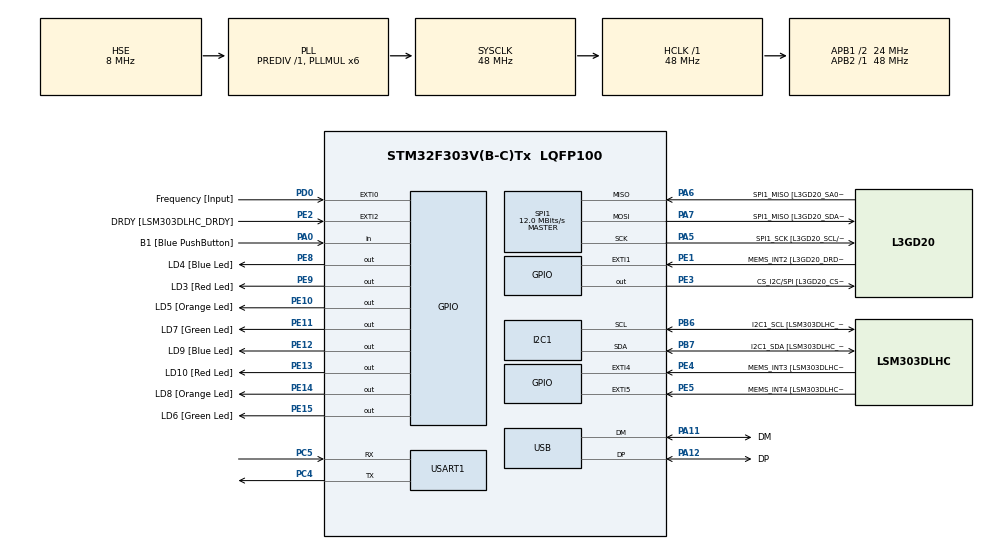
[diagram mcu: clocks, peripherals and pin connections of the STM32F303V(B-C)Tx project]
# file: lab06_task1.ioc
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I2C1.Timing=0x2000090E
I2C1.Timing-I2C=0x2000090E
Mcu.Family=STM32F3
Mcu.Name=STM32F303V(B-C)Tx
Mcu.Package=LQFP100
NVIC.EXTI0_IRQn=true\:0\:0\:false\:false\:true\:true\:true\:true
NVIC.PriorityGroup=NVIC_PRIORITYGROUP_0
NVIC.USB_LP_CAN_RX0_IRQn=true\:0\:0\:false\:false\:true\:false\:true\:true
PA0.GPIO_Label=B1 [Blue PushButton]
PA0.Signal=GPIO_Input
PA11.GPIO_Label=DM
PA11.Mode=Device
PA11.Signal=USB_DM
PA12.GPIO_Label=DP
PA12.Mode=Device
PA12.Signal=USB_DP
PA13.GPIO_Label=SWDIO
PA13.Mode=Serial_Wire
PA13.Signal=SYS_JTMS-SWDIO
PA14.GPIO_Label=SWCLK
PA14.Mode=Serial_Wire
PA14.Signal=SYS_JTCK-SWCLK
PA5.GPIO_Label=SPI1_SCK [L3GD20_SCL/SPC]
PA5.Mode=Full_Duplex_Master
PA5.Signal=SPI1_SCK
PA6.GPIO_Label=SPI1_MISO [L3GD20_SA0/SDO]
PA6.Mode=Full_Duplex_Master
PA6.Signal=SPI1_MISO
PA7.GPIO_Label=SPI1_MISO [L3GD20_SDA/SDI/SDO]
PA7.Mode=Full_Duplex_Master
PA7.Signal=SPI1_MOSI
PB3.GPIO_Label=SWO
PB3.Signal=SYS_JTDO-TRACESWO
PB6.GPIO_Label=I2C1_SCL [LSM303DLHC_SCL]
PB6.GPIO_Pu=GPIO_PULLUP
PB6.Mode=I2C
PB6.Signal=I2C1_SCL
PB7.GPIO_Label=I2C1_SDA [LSM303DLHC_SDA]
PB7.GPIO_Pu=GPIO_PULLUP
PB7.Mode=I2C
PB7.Signal=I2C1_SDA
PC14-OSC32_IN.GPIO_Label=OSC32_IN
PC14-OSC32_IN.Signal=RCC_OSC32_IN
PC15-OSC32_OUT.GPIO_Label=OSC32_OUT
PC15-OSC32_OUT.Signal=RCC_OSC32_OUT
PC4.Mode=Asynchronous
PC4.Signal=USART1_TX
PC5.Mode=Asynchronous
PC5.Signal=USART1_RX
PD0.GPIO_Label=Frequency [Input]
PD0.GPIO_ModeDefaultEXTI=GPIO_MODE_IT_RISING
PD0.Signal=GPXTI0
PE1.GPIO_Label=MEMS_INT2 [L3GD20_DRDY/INT2]
PE1.GPIO_ModeDefaultEXTI=GPIO_MODE_EVT_RISING
PE1.Signal=GPXTI1
PE10.GPIO_Label=LD5 [Orange Led]
PE10.Signal=GPIO_Output
PE11.GPIO_Label=LD7 [Green Led]
PE11.Signal=GPIO_Output
PE12.GPIO_Label=LD9 [Blue Led]
PE12.Signal=GPIO_Output
PE13.GPIO_Label=LD10 [Red Led]
PE13.Signal=GPIO_Output
PE14.GPIO_Label=LD8 [Orange Led]
PE14.Signal=GPIO_Output
PE15.GPIO_Label=LD6 [Green Led]
PE15.Signal=GPIO_Output
PE2.GPIO_Label=DRDY [LSM303DLHC_DRDY]
PE2.GPIO_ModeDefaultEXTI=GPIO_MODE_EVT_RISING
PE2.Signal=GPXTI2
PE3.GPIO_Label=CS_I2C/SPI [L3GD20_CS_I2C/SPI]
PE3.Signal=GPIO_Output
PE4.GPIO_Label=MEMS_INT3 [LSM303DLHC_INT1]
PE4.GPIO_ModeDefaultEXTI=GPIO_MODE_EVT_RISING
PE4.Signal=GPXTI4
PE5.GPIO_Label=MEMS_INT4 [LSM303DLHC_INT2]
PE5.GPIO_ModeDefaultEXTI=GPIO_MODE_EVT_RISING
PE5.Signal=GPXTI5
PE8.GPIO_Label=LD4 [Blue Led]
PE8.Signal=GPIO_Output
PE9.GPIO_Label=LD3 [Red Led]
PE9.Signal=GPIO_Output
PF0-OSC_IN.GPIO_Label=OSC_IN
PF0-OSC_IN.Mode=HSE-External-Clock-Source
PF0-OSC_IN.Signal=RCC_OSC_IN
PF1-OSC_OUT.GPIO_Label=OSC_OUT
PF1-OSC_OUT.Signal=RCC_OSC_OUT
ProjectManager.HeapSize=0x200
ProjectManager.StackSize=0x400
ProjectManager.TargetToolchain=CMake
RCC.AHBFreq_Value=48000000
RCC.APB1CLKDivider=RCC_HCLK_DIV2
RCC.APB1Freq_Value=24000000
RCC.APB1TimFreq_Value=48000000
RCC.APB2Freq_Value=48000000
RCC.APB2TimFreq_Value=48000000
RCC.CortexFreq_Value=48000000
RCC.HCLKFreq_Value=48000000
RCC.HSE_VALUE=8000000
RCC.HSI_VALUE=8000000
RCC.LSE_VALUE=32768
RCC.PLLMUL=RCC_PLL_MUL6
RCC.SYSCLKFreq_VALUE=48000000
RCC.SYSCLKSourceVirtual=RCC_SYSCLKSOURCE_PLLCLK
RCC.USBFreq_Value=48000000
SPI1.BaudRatePrescaler=SPI_BAUDRATEPRESCALER_4
SPI1.BaudRatePrescaler-Full_Duplex_Master=SPI_BAUDRATEPRESCALER_2
SPI1.CalculateBaudRate=12.0 MBits/s
SPI1.CalculateBaudRate-Full_Duplex_Master=24.0 MBits/s
SPI1.Direction=SPI_DIRECTION_2LINES
SPI1.Mode=SPI_MODE_MASTER
SPI1.Mode-Full_Duplex_Master=SPI_MODE_MASTER
SPI1.VirtualType=VM_MASTER
TIM2.Prescaler=71
USART1.VirtualMode-Asynchronous=VM_ASYNC
USB_DEVICE.CLASS_NAME_FS=CDC
USB_DEVICE.VirtualMode=Cdc
USB_DEVICE.VirtualModeFS=Cdc_FS
VP_TIM2_VS_ClockSourceINT.Mode=Internal
VP_USB_DEVICE_VS_USB_DEVICE_CDC_FS.Mode=CDC_FS
board=STM32F3DISCOVERY

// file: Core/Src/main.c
/* USER CODE BEGIN Header */
/**
  ******************************************************************************
  * @file           : main.c
  * @brief          : Main program body
  ******************************************************************************
  * @attention
  *
  * Copyright (c) 2025 STMicroelectronics.
  * All rights reserved.
  *
  * This software is licensed under terms that can be found in the LICENSE file
  * in the root directory of this software component.
  * If no LICENSE file comes with this software, it is provided AS-IS.
  *
  ******************************************************************************
  */
/* USER CODE END Header */
#include "main.h"
#include "usb_device.h"

I2C_HandleTypeDef hi2c1;

SPI_HandleTypeDef hspi1;

TIM_HandleTypeDef htim2;

UART_HandleTypeDef huart1;

void SystemClock_Config(void);
static void MX_GPIO_Init(void);
static void MX_I2C1_Init(void);
static void MX_SPI1_Init(void);
static void MX_TIM2_Init(void);
static void MX_USART1_UART_Init(void);

/* USER CODE BEGIN 0 */
volatile uint32_t last_capture = 0;
#define NUM_SAMPLES 16  // power of 2 for shifting
volatile uint8_t capture_flag = 0;
volatile uint8_t print_flag = 0;
char uart_buf[64];
int uart_len;

uint32_t samples[NUM_SAMPLES];
uint8_t index_1 = 0;
uint8_t full = 0;
uint32_t avg_count = 0;
/* USER CODE END 0 */

int main(void)
{

  /* MCU Configuration--------------------------------------------------------*/

  /* Reset of all peripherals, Initializes the Flash interface and the Systick. */
  HAL_Init();

  /* Configure the system clock */
  SystemClock_Config();

  /* Initialize all configured peripherals */
  MX_GPIO_Init();
  MX_I2C1_Init();
  MX_SPI1_Init();
  MX_TIM2_Init();
  MX_USART1_UART_Init();
  MX_USB_DEVICE_Init();

  /* Infinite loop */
  while (1)
  {
    if (print_flag) {
        print_flag = 0;
        uint32_t freq = 8000000UL / (2 * avg_count);
        uint32_t error_percent_add = freq + ((freq * 10.5) / 100);   // freq + 11%

         //8Mhz

        uart_len = snprintf(uart_buf, sizeof(uart_buf),
                        "Avg Count = %lu ticks, Avg Freq = %lu Hz\r\n",
                        avg_count, error_percent_add);
        HAL_UART_Transmit(&huart1, (uint8_t*)uart_buf, uart_len, HAL_MAX_DELAY);
    }

    HAL_Delay(100); // Print every 100 ms
  }
}

void SystemClock_Config(void)
{
  RCC_OscInitTypeDef RCC_OscInitStruct = {0};
  RCC_ClkInitTypeDef RCC_ClkInitStruct = {0};
  RCC_PeriphCLKInitTypeDef PeriphClkInit = {0};

  /** Initializes the RCC Oscillators according to the specified parameters
  * in the RCC_OscInitTypeDef structure.
  */
  RCC_OscInitStruct.OscillatorType = RCC_OSCILLATORTYPE_HSI|RCC_OSCILLATORTYPE_HSE;
  RCC_OscInitStruct.HSEState = RCC_HSE_BYPASS;
  RCC_OscInitStruct.HSEPredivValue = RCC_HSE_PREDIV_DIV1;
  RCC_OscInitStruct.HSIState = RCC_HSI_ON;
  RCC_OscInitStruct.HSICalibrationValue = RCC_HSICALIBRATION_DEFAULT;
  RCC_OscInitStruct.PLL.PLLState = RCC_PLL_ON;
  RCC_OscInitStruct.PLL.PLLSource = RCC_PLLSOURCE_HSE;
  RCC_OscInitStruct.PLL.PLLMUL = RCC_PLL_MUL6;
  if (HAL_RCC_OscConfig(&RCC_OscInitStruct) != HAL_OK)
  {
    Error_Handler();
  }

  /** Initializes the CPU, AHB and APB buses clocks
  */
  RCC_ClkInitStruct.ClockType = RCC_CLOCKTYPE_HCLK|RCC_CLOCKTYPE_SYSCLK
                              |RCC_CLOCKTYPE_PCLK1|RCC_CLOCKTYPE_PCLK2;
  RCC_ClkInitStruct.SYSCLKSource = RCC_SYSCLKSOURCE_PLLCLK;
  RCC_ClkInitStruct.AHBCLKDivider = RCC_SYSCLK_DIV1;
  RCC_ClkInitStruct.APB1CLKDivider = RCC_HCLK_DIV2;
  RCC_ClkInitStruct.APB2CLKDivider = RCC_HCLK_DIV1;

  if (HAL_RCC_ClockConfig(&RCC_ClkInitStruct, FLASH_LATENCY_1) != HAL_OK)
  {
    Error_Handler();
  }
  PeriphClkInit.PeriphClockSelection = RCC_PERIPHCLK_USB|RCC_PERIPHCLK_USART1
                              |RCC_PERIPHCLK_I2C1;
  PeriphClkInit.Usart1ClockSelection = RCC_USART1CLKSOURCE_PCLK2;
  PeriphClkInit.I2c1ClockSelection = RCC_I2C1CLKSOURCE_HSI;
  PeriphClkInit.USBClockSelection = RCC_USBCLKSOURCE_PLL;
  if (HAL_RCCEx_PeriphCLKConfig(&PeriphClkInit) != HAL_OK)
  {
    Error_Handler();
  }
}

static void MX_I2C1_Init(void)
{

  hi2c1.Instance = I2C1;
  hi2c1.Init.Timing = 0x2000090E;
  hi2c1.Init.OwnAddress1 = 0;
  hi2c1.Init.AddressingMode = I2C_ADDRESSINGMODE_7BIT;
  hi2c1.Init.DualAddressMode = I2C_DUALADDRESS_DISABLE;
  hi2c1.Init.OwnAddress2 = 0;
  hi2c1.Init.OwnAddress2Masks = I2C_OA2_NOMASK;
  hi2c1.Init.GeneralCallMode = I2C_GENERALCALL_DISABLE;
  hi2c1.Init.NoStretchMode = I2C_NOSTRETCH_DISABLE;
  if (HAL_I2C_Init(&hi2c1) != HAL_OK)
  {
    Error_Handler();
  }

  /** Configure Analogue filter
  */
  if (HAL_I2CEx_ConfigAnalogFilter(&hi2c1, I2C_ANALOGFILTER_ENABLE) != HAL_OK)
  {
    Error_Handler();
  }

  /** Configure Digital filter
  */
  if (HAL_I2CEx_ConfigDigitalFilter(&hi2c1, 0) != HAL_OK)
  {
    Error_Handler();
  }

}

static void MX_SPI1_Init(void)
{

  /* SPI1 parameter configuration*/
  hspi1.Instance = SPI1;
  hspi1.Init.Mode = SPI_MODE_MASTER;
  hspi1.Init.Direction = SPI_DIRECTION_2LINES;
  hspi1.Init.DataSize = SPI_DATASIZE_4BIT;
  hspi1.Init.CLKPolarity = SPI_POLARITY_LOW;
  hspi1.Init.CLKPhase = SPI_PHASE_1EDGE;
  hspi1.Init.NSS = SPI_NSS_SOFT;
  hspi1.Init.BaudRatePrescaler = SPI_BAUDRATEPRESCALER_4;
  hspi1.Init.FirstBit = SPI_FIRSTBIT_MSB;
  hspi1.Init.TIMode = SPI_TIMODE_DISABLE;
  hspi1.Init.CRCCalculation = SPI_CRCCALCULATION_DISABLE;
  hspi1.Init.CRCPolynomial = 7;
  hspi1.Init.CRCLength = SPI_CRC_LENGTH_DATASIZE;
  hspi1.Init.NSSPMode = SPI_NSS_PULSE_ENABLE;
  if (HAL_SPI_Init(&hspi1) != HAL_OK)
  {
    Error_Handler();
  }

}

static void MX_TIM2_Init(void)
{

  TIM_ClockConfigTypeDef sClockSourceConfig = {0};
  TIM_MasterConfigTypeDef sMasterConfig = {0};

  htim2.Instance = TIM2;
  htim2.Init.Prescaler = 9;
  htim2.Init.CounterMode = TIM_COUNTERMODE_UP;
  htim2.Init.Period = 4294967295;
  htim2.Init.ClockDivision = TIM_CLOCKDIVISION_DIV1;
  htim2.Init.AutoReloadPreload = TIM_AUTORELOAD_PRELOAD_DISABLE;
  if (HAL_TIM_Base_Init(&htim2) != HAL_OK)
  {
    Error_Handler();
  }
  sClockSourceConfig.ClockSource = TIM_CLOCKSOURCE_INTERNAL;
  if (HAL_TIM_ConfigClockSource(&htim2, &sClockSourceConfig) != HAL_OK)
  {
    Error_Handler();
  }
  sMasterConfig.MasterOutputTrigger = TIM_TRGO_RESET;
  sMasterConfig.MasterSlaveMode = TIM_MASTERSLAVEMODE_DISABLE;
  if (HAL_TIMEx_MasterConfigSynchronization(&htim2, &sMasterConfig) != HAL_OK)
  {
    Error_Handler();
  }

}

static void MX_USART1_UART_Init(void)
{

  huart1.Instance = USART1;
  huart1.Init.BaudRate = 115200;
  huart1.Init.WordLength = UART_WORDLENGTH_8B;
  huart1.Init.StopBits = UART_STOPBITS_1;
  huart1.Init.Parity = UART_PARITY_NONE;
  huart1.Init.Mode = UART_MODE_TX_RX;
  huart1.Init.HwFlowCtl = UART_HWCONTROL_NONE;
  huart1.Init.OverSampling = UART_OVERSAMPLING_16;
  huart1.Init.OneBitSampling = UART_ONE_BIT_SAMPLE_DISABLE;
  huart1.AdvancedInit.AdvFeatureInit = UART_ADVFEATURE_NO_INIT;
  if (HAL_UART_Init(&huart1) != HAL_OK)
  {
    Error_Handler();
  }

}

static void MX_GPIO_Init(void)
{
  GPIO_InitTypeDef GPIO_InitStruct = {0};

  /* GPIO Ports Clock Enable */
  __HAL_RCC_GPIOE_CLK_ENABLE();
  __HAL_RCC_GPIOC_CLK_ENABLE();
  __HAL_RCC_GPIOF_CLK_ENABLE();
  __HAL_RCC_GPIOA_CLK_ENABLE();
  __HAL_RCC_GPIOD_CLK_ENABLE();
  __HAL_RCC_GPIOB_CLK_ENABLE();

  /*Configure GPIO pin Output Level */
  HAL_GPIO_WritePin(GPIOE, CS_I2C_SPI_Pin|LD4_Pin|LD3_Pin|LD5_Pin
                          |LD7_Pin|LD9_Pin|LD10_Pin|LD8_Pin
                          |LD6_Pin, GPIO_PIN_RESET);

  /*Configure GPIO pins : DRDY_Pin MEMS_INT3_Pin MEMS_INT4_Pin MEMS_INT2_Pin */
  GPIO_InitStruct.Pin = DRDY_Pin|MEMS_INT3_Pin|MEMS_INT4_Pin|MEMS_INT2_Pin;
  GPIO_InitStruct.Mode = GPIO_MODE_EVT_RISING;
  GPIO_InitStruct.Pull = GPIO_NOPULL;
  HAL_GPIO_Init(GPIOE, &GPIO_InitStruct);

  /*Configure GPIO pins : CS_I2C_SPI_Pin LD4_Pin LD3_Pin LD5_Pin
                           LD7_Pin LD9_Pin LD10_Pin LD8_Pin
                           LD6_Pin */
  GPIO_InitStruct.Pin = CS_I2C_SPI_Pin|LD4_Pin|LD3_Pin|LD5_Pin
                          |LD7_Pin|LD9_Pin|LD10_Pin|LD8_Pin
                          |LD6_Pin;
  GPIO_InitStruct.Mode = GPIO_MODE_OUTPUT_PP;
  GPIO_InitStruct.Pull = GPIO_NOPULL;
  GPIO_InitStruct.Speed = GPIO_SPEED_FREQ_LOW;
  HAL_GPIO_Init(GPIOE, &GPIO_InitStruct);

  /*Configure GPIO pin : B1_Pin */
  GPIO_InitStruct.Pin = B1_Pin;
  GPIO_InitStruct.Mode = GPIO_MODE_INPUT;
  GPIO_InitStruct.Pull = GPIO_NOPULL;
  HAL_GPIO_Init(B1_GPIO_Port, &GPIO_InitStruct);

  /*Configure GPIO pin : Frequency_Pin */
  GPIO_InitStruct.Pin = GPIO_PIN_0;
  GPIO_InitStruct.Mode = GPIO_MODE_IT_RISING;
  GPIO_InitStruct.Pull = GPIO_NOPULL;
  HAL_GPIO_Init(GPIOD, &GPIO_InitStruct);

  /* EXTI interrupt init*/
  HAL_NVIC_SetPriority(EXTI0_IRQn, 0, 0);
  HAL_NVIC_EnableIRQ(EXTI0_IRQn);

}

/* USER CODE BEGIN 4 */
/* USER CODE BEGIN 4 */
void HAL_GPIO_EXTI_Callback(uint16_t GPIO_Pin) {
    if (GPIO_Pin == GPIO_PIN_0) { // PD0 is frequency pin
        if (capture_flag == 0) {
            __HAL_TIM_SET_COUNTER(&htim2, 0);
            HAL_TIM_Base_Start(&htim2);
            capture_flag = 1;
        } else {
            HAL_TIM_Base_Stop(&htim2);
            uint32_t count = __HAL_TIM_GET_COUNTER(&htim2);

            samples[index_1++] = count;

            if (index_1 >= NUM_SAMPLES-1) {
                index_1 = 0;
                full = 1;
            }

            if (full) {
                uint64_t total = 0;
                for (int i = 0; i < NUM_SAMPLES; i++)
                    total += samples[i];

                avg_count = total >> 4;
                print_flag = 1;
            }

            capture_flag = 0;
        }
    }
}
/* USER CODE END 4 */

/* USER CODE END 4 */

void Error_Handler(void)
{
  __disable_irq();
  while (1)
  {
  }
}
